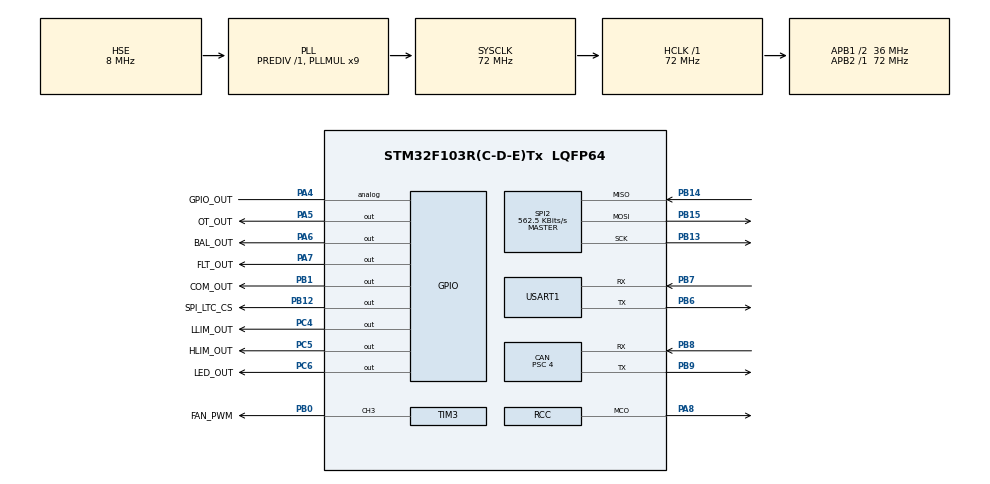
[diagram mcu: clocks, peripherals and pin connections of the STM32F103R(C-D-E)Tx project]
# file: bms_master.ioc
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CAN.ABOM=ENABLE
CAN.BS1=CAN_BS1_15TQ
CAN.BS2=CAN_BS2_2TQ
CAN.CalculateBaudRate=500000
CAN.CalculateTimeBit=2000
CAN.CalculateTimeQuantum=111.11111111111111
CAN.NART=ENABLE
CAN.Prescaler=4
CAN.TXFP=ENABLE
Mcu.Family=STM32F1
Mcu.Name=STM32F103R(C-D-E)Tx
Mcu.Package=LQFP64
NVIC.PriorityGroup=NVIC_PRIORITYGROUP_4
NVIC.USB_HP_CAN1_TX_IRQn=true\:0\:0\:false\:false\:true\:true\:true\:true
NVIC.USB_LP_CAN1_RX0_IRQn=true\:0\:0\:false\:false\:true\:true\:true\:true
PA13.Mode=Trace_Asynchronous_SW
PA13.Signal=SYS_JTMS-SWDIO
PA14.Mode=Trace_Asynchronous_SW
PA14.Signal=SYS_JTCK-SWCLK
PA4.GPIO_Label=GPIO_OUT
PA4.Signal=GPIO_Analog
PA5.GPIO_Label=OT_OUT
PA5.Signal=GPIO_Output
PA6.GPIO_Label=BAL_OUT
PA6.Signal=GPIO_Output
PA7.GPIO_Label=FLT_OUT
PA7.Signal=GPIO_Output
PA8.Mode=Clock-out
PA8.Signal=RCC_MCO
PB0.GPIO_Label=FAN_PWM
PB0.Signal=S_TIM3_CH3
PB1.GPIO_Label=COM_OUT
PB1.Signal=GPIO_Output
PB12.GPIO_Label=SPI_LTC_CS
PB12.GPIO_Speed=GPIO_SPEED_FREQ_HIGH
PB12.Signal=GPIO_Output
PB13.Mode=Full_Duplex_Master
PB13.Signal=SPI2_SCK
PB14.Mode=Full_Duplex_Master
PB14.Signal=SPI2_MISO
PB15.Mode=Full_Duplex_Master
PB15.Signal=SPI2_MOSI
PB3.Mode=Trace_Asynchronous_SW
PB3.Signal=SYS_JTDO-TRACESWO
PB6.Mode=Asynchronous
PB6.Signal=USART1_TX
PB7.Mode=Asynchronous
PB7.Signal=USART1_RX
PB8.Mode=CAN_Activate
PB8.Signal=CAN_RX
PB9.Mode=CAN_Activate
PB9.Signal=CAN_TX
PC14-OSC32_IN.Mode=LSE-External-Oscillator
PC14-OSC32_IN.Signal=RCC_OSC32_IN
PC15-OSC32_OUT.Mode=LSE-External-Oscillator
PC15-OSC32_OUT.Signal=RCC_OSC32_OUT
PC4.GPIO_Label=LLIM_OUT
PC4.Signal=GPIO_Output
PC5.GPIO_Label=HLIM_OUT
PC5.Signal=GPIO_Output
PC6.GPIO_Label=LED_OUT
PC6.Signal=GPIO_Output
PD0-OSC_IN.Mode=HSE-External-Oscillator
PD0-OSC_IN.Signal=RCC_OSC_IN
PD1-OSC_OUT.Mode=HSE-External-Oscillator
PD1-OSC_OUT.Signal=RCC_OSC_OUT
ProjectManager.HeapSize=0x200
ProjectManager.StackSize=0x400
ProjectManager.TargetToolchain=STM32CubeIDE
RCC.AHBFreq_Value=72000000
RCC.APB1CLKDivider=RCC_HCLK_DIV2
RCC.APB1Freq_Value=36000000
RCC.APB1TimFreq_Value=72000000
RCC.APB2Freq_Value=72000000
RCC.APB2TimFreq_Value=72000000
RCC.EnbaleCSS=true
RCC.HCLKFreq_Value=72000000
RCC.PLLMUL=RCC_PLL_MUL9
RCC.PLLSourceVirtual=RCC_PLLSOURCE_HSE
RCC.RCC_MCOSource=RCC_MCO1SOURCE_PLLCLK
RCC.SYSCLKFreq_VALUE=72000000
RCC.SYSCLKSource=RCC_SYSCLKSOURCE_PLLCLK
RCC.USBFreq_Value=72000000
SH.S_TIM3_CH3.0=TIM3_CH3,PWM Generation3 CH3
SPI2.BaudRatePrescaler=SPI_BAUDRATEPRESCALER_64
SPI2.CLKPhase=SPI_PHASE_2EDGE
SPI2.CLKPolarity=SPI_POLARITY_HIGH
SPI2.CalculateBaudRate=562.5 KBits/s
SPI2.Direction=SPI_DIRECTION_2LINES
SPI2.Mode=SPI_MODE_MASTER
SPI2.VirtualType=VM_MASTER
TIM3.Channel-PWM\ Generation3\ CH3=TIM_CHANNEL_3
TIM3.Period=359
TIM3.Prescaler=7
USART1.VirtualMode=VM_ASYNC
VP_TIM3_VS_ClockSourceINT.Mode=Internal
board=custom

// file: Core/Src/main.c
/* USER CODE BEGIN Header */
/**
 ******************************************************************************
 * @file           : main.c
 * @brief          : Main program body
 ******************************************************************************
 * @attention
 *
 * <h2><center>&copy; Copyright (c) 2020 STMicroelectronics.
 * All rights reserved.</center></h2>
 *
 * This software component is licensed by ST under BSD 3-Clause license,
 * the "License"; You may not use this file except in compliance with the
 * License. You may obtain a copy of the License at:
 *                        opensource.org/licenses/BSD-3-Clause
 *
 ******************************************************************************
 */
/* USER CODE END Header */
#include "main.h"

/* USER CODE BEGIN Includes */
#include "debug_io.h"
#include "pack.h"
#include "bms_main.h"
#include "can.h"
#include "control.h"
#include "ltc6813_btm.h"
#include <string.h>
/* USER CODE END Includes */

/* USER CODE BEGIN PD */
#define LED_BLINK_PATTERN_LENGTH 8U
#define LED_NORMAL_BLINK_PATTERN 0b01010101U // Each bit is the on/off status for one interval
#define LED_FAULT_BLINK_PATTERN  0b00000101U

#define LED_BLINK_INTERVAL 500U // milliseconds
#define UPDATE_INTERVAL 100U // milliseconds
/* USER CODE END PD */

CAN_HandleTypeDef hcan;

SPI_HandleTypeDef hspi2;

TIM_HandleTypeDef htim3;

UART_HandleTypeDef huart1;

/* USER CODE BEGIN PV */

static Pack_t pack;

/* USER CODE END PV */

void SystemClock_Config(void);
static void MX_GPIO_Init(void);
static void MX_CAN_Init(void);
static void MX_SPI2_Init(void);
static void MX_TIM3_Init(void);
static void MX_USART1_UART_Init(void);
/* USER CODE BEGIN PFP */
bool doesRegGroupMatch(uint8_t reg_group1[BTM_NUM_DEVICES][BTM_REG_GROUP_SIZE],
                       uint8_t reg_group2[BTM_NUM_DEVICES][BTM_REG_GROUP_SIZE]);
void packUpdateAndControl(Pack_t *pack);
void startupChecks(Pack_t *pack);
void analyzePack(Pack_t *pack);
void stopBalancing(Pack_t *pack);

/* USER CODE END PFP */

/* USER CODE BEGIN 0 */

/*============================================================================*/
/* CAN INTERRUPT CALLBACKS */

void HAL_CAN_TxMailbox0CompleteCallback(CAN_HandleTypeDef *hcan)
{
  UNUSED(hcan);
  CAN_TxCompleteCallback();
}

void HAL_CAN_TxMailbox1CompleteCallback(CAN_HandleTypeDef *hcan)
{
  UNUSED(hcan);
  CAN_TxCompleteCallback();
}

void HAL_CAN_TxMailbox2CompleteCallback(CAN_HandleTypeDef *hcan)
{
  UNUSED(hcan);
  CAN_TxCompleteCallback();
}

void HAL_CAN_RxFifo0MsgPendingCallback(CAN_HandleTypeDef *hcan)
{
  UNUSED(hcan);
  CAN_RecievedMessageCallback();
}

void HAL_CAN_ErrorCallback(CAN_HandleTypeDef *hcan)
{
  UNUSED(hcan);
  CAN_ErrorCallback();
}

/* USER CODE END 0 */

int main(void)
{
  /* USER CODE BEGIN 1 */
  uint32_t current_tick;
  // First update should be right away
  uint32_t last_blink_tick = -LED_BLINK_INTERVAL;
  uint32_t last_update_tick = -UPDATE_INTERVAL;
  uint32_t led_cycle = 0;

  /* USER CODE END 1 */

  /* MCU Configuration--------------------------------------------------------*/

  /* Reset of all peripherals, Initializes the Flash interface and the Systick. */
  HAL_Init();

  /* Configure the system clock */
  SystemClock_Config();

  /* USER CODE BEGIN SysInit */

  memset((uint8_t *) &pack, 0U, sizeof(pack));

  /* USER CODE END SysInit */

  /* Initialize all configured peripherals */
  MX_GPIO_Init();
  MX_CAN_Init();
  MX_SPI2_Init();
  MX_TIM3_Init();
  MX_USART1_UART_Init();
  /* USER CODE BEGIN 2 */

  DebugIO_Init(&huart1);

  // Initialize hardware and pack struct
  CAN_Init(&hcan);
  CONT_init(&htim3, TIM_CHANNEL_3); // control signals
  BTM_init(&hspi2); // initialize the LTC6813s and driver state

  HAL_GPIO_WritePin(CONT_FLT_PORT, CONT_FLT_PIN, SET);

  BMS_MAIN_startupChecks(&pack);
  BMS_MAIN_updatePackData(&pack);

  // Set fault low if startup checks pass
  if(!PACK_ANY_FAULTS_SET(pack.status)){
    HAL_Delay(500);
    HAL_GPIO_WritePin(CONT_FLT_PORT, CONT_FLT_PIN, RESET);
  }

  /* USER CODE END 2 */
  /* Infinite loop */
  /* USER CODE BEGIN WHILE */
  while (1)
  {
    current_tick = HAL_GetTick();
    //printf("Pack voltage: %d V\r\n", Pack_GetPackVoltage(&pack)/10000);
    // update pack values and control signals if pack update interval has elapsed
    if (current_tick - last_update_tick >= UPDATE_INTERVAL)
    {
      BMS_MAIN_updatePackData(&pack);
      BMS_MAIN_driveOutputs(&pack);
      BMS_MAIN_sendCanMessages(&pack);
      last_update_tick = current_tick;
    }

    // blink LED on master board
    if (current_tick - last_blink_tick >= LED_BLINK_INTERVAL)
    {
      uint32_t led_state = 0;
      if (PACK_ANY_FAULTS_SET(pack.status))
      {
        led_state = (LED_FAULT_BLINK_PATTERN >> led_cycle) & 0x1U;
      }
      else
      {
        led_state = (LED_NORMAL_BLINK_PATTERN >> led_cycle) & 0x1U;
      }
      led_cycle = (led_cycle + 1U) % LED_BLINK_PATTERN_LENGTH;
      HAL_GPIO_WritePin(LED_OUT_GPIO_Port, LED_OUT_Pin, led_state);
      last_blink_tick = current_tick;
    }

    /* USER CODE END WHILE */

  }
}

void SystemClock_Config(void)
{
  RCC_OscInitTypeDef RCC_OscInitStruct = {0};
  RCC_ClkInitTypeDef RCC_ClkInitStruct = {0};

  /** Initializes the RCC Oscillators according to the specified parameters
  * in the RCC_OscInitTypeDef structure.
  */
  RCC_OscInitStruct.OscillatorType = RCC_OSCILLATORTYPE_HSE;
  RCC_OscInitStruct.HSEState = RCC_HSE_ON;
  RCC_OscInitStruct.HSEPredivValue = RCC_HSE_PREDIV_DIV1;
  RCC_OscInitStruct.HSIState = RCC_HSI_ON;
  RCC_OscInitStruct.PLL.PLLState = RCC_PLL_ON;
  RCC_OscInitStruct.PLL.PLLSource = RCC_PLLSOURCE_HSE;
  RCC_OscInitStruct.PLL.PLLMUL = RCC_PLL_MUL9;
  if (HAL_RCC_OscConfig(&RCC_OscInitStruct) != HAL_OK)
  {
    Error_Handler();
  }

  /** Initializes the CPU, AHB and APB buses clocks
  */
  RCC_ClkInitStruct.ClockType = RCC_CLOCKTYPE_HCLK|RCC_CLOCKTYPE_SYSCLK
                              |RCC_CLOCKTYPE_PCLK1|RCC_CLOCKTYPE_PCLK2;
  RCC_ClkInitStruct.SYSCLKSource = RCC_SYSCLKSOURCE_PLLCLK;
  RCC_ClkInitStruct.AHBCLKDivider = RCC_SYSCLK_DIV1;
  RCC_ClkInitStruct.APB1CLKDivider = RCC_HCLK_DIV2;
  RCC_ClkInitStruct.APB2CLKDivider = RCC_HCLK_DIV1;

  if (HAL_RCC_ClockConfig(&RCC_ClkInitStruct, FLASH_LATENCY_2) != HAL_OK)
  {
    Error_Handler();
  }
  HAL_RCC_MCOConfig(RCC_MCO, RCC_MCO1SOURCE_PLLCLK, RCC_MCODIV_1);

  /** Enables the Clock Security System
  */
  HAL_RCC_EnableCSS();
}

static void MX_CAN_Init(void)
{

  hcan.Instance = CAN1;
  hcan.Init.Prescaler = 4;
  hcan.Init.Mode = CAN_MODE_NORMAL;
  hcan.Init.SyncJumpWidth = CAN_SJW_1TQ;
  hcan.Init.TimeSeg1 = CAN_BS1_15TQ;
  hcan.Init.TimeSeg2 = CAN_BS2_2TQ;
  hcan.Init.TimeTriggeredMode = DISABLE;
  hcan.Init.AutoBusOff = ENABLE;
  hcan.Init.AutoWakeUp = DISABLE;
  hcan.Init.AutoRetransmission = ENABLE;
  hcan.Init.ReceiveFifoLocked = DISABLE;
  hcan.Init.TransmitFifoPriority = ENABLE;
  if (HAL_CAN_Init(&hcan) != HAL_OK)
  {
    Error_Handler();
  }

}

static void MX_SPI2_Init(void)
{

  /* SPI2 parameter configuration*/
  hspi2.Instance = SPI2;
  hspi2.Init.Mode = SPI_MODE_MASTER;
  hspi2.Init.Direction = SPI_DIRECTION_2LINES;
  hspi2.Init.DataSize = SPI_DATASIZE_8BIT;
  hspi2.Init.CLKPolarity = SPI_POLARITY_HIGH;
  hspi2.Init.CLKPhase = SPI_PHASE_2EDGE;
  hspi2.Init.NSS = SPI_NSS_SOFT;
  hspi2.Init.BaudRatePrescaler = SPI_BAUDRATEPRESCALER_64;
  hspi2.Init.FirstBit = SPI_FIRSTBIT_MSB;
  hspi2.Init.TIMode = SPI_TIMODE_DISABLE;
  hspi2.Init.CRCCalculation = SPI_CRCCALCULATION_DISABLE;
  hspi2.Init.CRCPolynomial = 10;
  if (HAL_SPI_Init(&hspi2) != HAL_OK)
  {
    Error_Handler();
  }

}

static void MX_TIM3_Init(void)
{

  TIM_ClockConfigTypeDef sClockSourceConfig = {0};
  TIM_MasterConfigTypeDef sMasterConfig = {0};
  TIM_OC_InitTypeDef sConfigOC = {0};

  htim3.Instance = TIM3;
  htim3.Init.Prescaler = 7;
  htim3.Init.CounterMode = TIM_COUNTERMODE_UP;
  htim3.Init.Period = 359;
  htim3.Init.ClockDivision = TIM_CLOCKDIVISION_DIV1;
  htim3.Init.AutoReloadPreload = TIM_AUTORELOAD_PRELOAD_DISABLE;
  if (HAL_TIM_Base_Init(&htim3) != HAL_OK)
  {
    Error_Handler();
  }
  sClockSourceConfig.ClockSource = TIM_CLOCKSOURCE_INTERNAL;
  if (HAL_TIM_ConfigClockSource(&htim3, &sClockSourceConfig) != HAL_OK)
  {
    Error_Handler();
  }
  if (HAL_TIM_PWM_Init(&htim3) != HAL_OK)
  {
    Error_Handler();
  }
  sMasterConfig.MasterOutputTrigger = TIM_TRGO_RESET;
  sMasterConfig.MasterSlaveMode = TIM_MASTERSLAVEMODE_DISABLE;
  if (HAL_TIMEx_MasterConfigSynchronization(&htim3, &sMasterConfig) != HAL_OK)
  {
    Error_Handler();
  }
  sConfigOC.OCMode = TIM_OCMODE_PWM1;
  sConfigOC.Pulse = 0;
  sConfigOC.OCPolarity = TIM_OCPOLARITY_HIGH;
  sConfigOC.OCFastMode = TIM_OCFAST_DISABLE;
  if (HAL_TIM_PWM_ConfigChannel(&htim3, &sConfigOC, TIM_CHANNEL_3) != HAL_OK)
  {
    Error_Handler();
  }
  HAL_TIM_MspPostInit(&htim3);

}

static void MX_USART1_UART_Init(void)
{

  huart1.Instance = USART1;
  huart1.Init.BaudRate = 115200;
  huart1.Init.WordLength = UART_WORDLENGTH_8B;
  huart1.Init.StopBits = UART_STOPBITS_1;
  huart1.Init.Parity = UART_PARITY_NONE;
  huart1.Init.Mode = UART_MODE_TX_RX;
  huart1.Init.HwFlowCtl = UART_HWCONTROL_NONE;
  huart1.Init.OverSampling = UART_OVERSAMPLING_16;
  if (HAL_UART_Init(&huart1) != HAL_OK)
  {
    Error_Handler();
  }

}

static void MX_GPIO_Init(void)
{
  GPIO_InitTypeDef GPIO_InitStruct = {0};

  /* GPIO Ports Clock Enable */
  __HAL_RCC_GPIOC_CLK_ENABLE();
  __HAL_RCC_GPIOD_CLK_ENABLE();
  __HAL_RCC_GPIOA_CLK_ENABLE();
  __HAL_RCC_GPIOB_CLK_ENABLE();

  /*Configure GPIO pin Output Level */
  HAL_GPIO_WritePin(GPIOA, OT_OUT_Pin|BAL_OUT_Pin|FLT_OUT_Pin, GPIO_PIN_RESET);

  /*Configure GPIO pin Output Level */
  HAL_GPIO_WritePin(GPIOC, LLIM_OUT_Pin|HLIM_OUT_Pin|LED_OUT_Pin, GPIO_PIN_RESET);

  /*Configure GPIO pin Output Level */
  HAL_GPIO_WritePin(GPIOB, COM_OUT_Pin|SPI_LTC_CS_Pin, GPIO_PIN_RESET);

  /*Configure GPIO pin : GPIO_OUT_Pin */
  GPIO_InitStruct.Pin = GPIO_OUT_Pin;
  GPIO_InitStruct.Mode = GPIO_MODE_ANALOG;
  HAL_GPIO_Init(GPIO_OUT_GPIO_Port, &GPIO_InitStruct);

  /*Configure GPIO pins : OT_OUT_Pin BAL_OUT_Pin FLT_OUT_Pin */
  GPIO_InitStruct.Pin = OT_OUT_Pin|BAL_OUT_Pin|FLT_OUT_Pin;
  GPIO_InitStruct.Mode = GPIO_MODE_OUTPUT_PP;
  GPIO_InitStruct.Pull = GPIO_NOPULL;
  GPIO_InitStruct.Speed = GPIO_SPEED_FREQ_LOW;
  HAL_GPIO_Init(GPIOA, &GPIO_InitStruct);

  /*Configure GPIO pins : LLIM_OUT_Pin HLIM_OUT_Pin LED_OUT_Pin */
  GPIO_InitStruct.Pin = LLIM_OUT_Pin|HLIM_OUT_Pin|LED_OUT_Pin;
  GPIO_InitStruct.Mode = GPIO_MODE_OUTPUT_PP;
  GPIO_InitStruct.Pull = GPIO_NOPULL;
  GPIO_InitStruct.Speed = GPIO_SPEED_FREQ_LOW;
  HAL_GPIO_Init(GPIOC, &GPIO_InitStruct);

  /*Configure GPIO pin : COM_OUT_Pin */
  GPIO_InitStruct.Pin = COM_OUT_Pin;
  GPIO_InitStruct.Mode = GPIO_MODE_OUTPUT_PP;
  GPIO_InitStruct.Pull = GPIO_NOPULL;
  GPIO_InitStruct.Speed = GPIO_SPEED_FREQ_LOW;
  HAL_GPIO_Init(COM_OUT_GPIO_Port, &GPIO_InitStruct);

  /*Configure GPIO pin : SPI_LTC_CS_Pin */
  GPIO_InitStruct.Pin = SPI_LTC_CS_Pin;
  GPIO_InitStruct.Mode = GPIO_MODE_OUTPUT_PP;
  GPIO_InitStruct.Pull = GPIO_NOPULL;
  GPIO_InitStruct.Speed = GPIO_SPEED_FREQ_HIGH;
  HAL_GPIO_Init(SPI_LTC_CS_GPIO_Port, &GPIO_InitStruct);

  /*Configure GPIO pin : PA8 */
  GPIO_InitStruct.Pin = GPIO_PIN_8;
  GPIO_InitStruct.Mode = GPIO_MODE_AF_PP;
  GPIO_InitStruct.Speed = GPIO_SPEED_FREQ_LOW;
  HAL_GPIO_Init(GPIOA, &GPIO_InitStruct);

}

/* USER CODE BEGIN 4 */

/**
 * Delay approximately 125 milliseconds, the simplest way
 */
static void yeOldeDelay(void)
{
  uint32_t clockFreq = HAL_RCC_GetSysClockFreq();
  // Scale factor between repetitions and clock frequency is related to
  // number of clock cycles needed to execute loop - determined imperically
  uint32_t repetitions = clockFreq / (9U * 8U); // 9 clock cycles per loop, 1s / 125ms = 8
  for (uint32_t i = 0; i < repetitions; i++)
  {
    asm volatile (
      "NOP\n"
    );
  }
}

/* USER CODE END 4 */

void Error_Handler(void)
{
  /* USER CODE BEGIN Error_Handler_Debug */
  /* User can add his own implementation to report the HAL error return state */
  __disable_irq();
  CONT_FLT_switch(true);
  while (1)
  {
    HAL_GPIO_TogglePin(LED_OUT_GPIO_Port, LED_OUT_Pin);
    yeOldeDelay();
  }

  /* USER CODE END Error_Handler_Debug */
}
